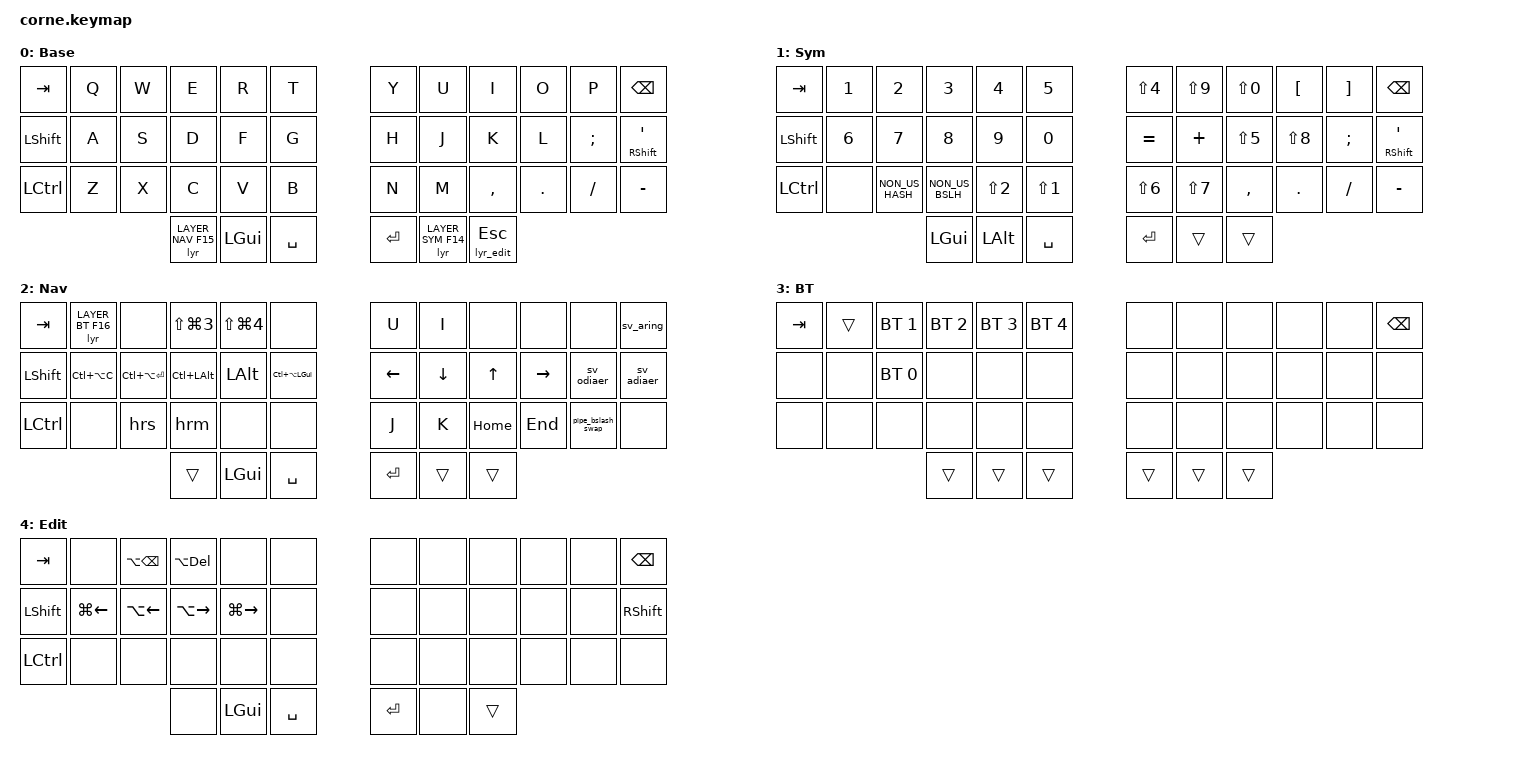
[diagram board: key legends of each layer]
/*
 * Copyright (c) 2020 The ZMK Contributors
 *
 * SPDX-License-Identifier: MIT
 */

#include <behaviors.dtsi>
#include <dt-bindings/zmk/keys.h>
#include <dt-bindings/zmk/bt.h>

#define LAYER_BASE 0
#define LAYER_SYM 1
#define LAYER_NAV 2
#define LAYER_BT 3
#define LAYER_EDIT 4

/*
 * Layer signals. Layer index N emits a bare F13+N on entry so keylens can show
 * the matching overlay. macOS binds none of F13-F24, which is the whole point:
 * no other application can react to them. Naked modifiers were used for this
 * until it turned out five consecutive RSHFT taps trip macOS Sticky Keys and a
 * naked RGUI tap opens the Start menu inside a Windows VM.
 *
 * Releasing a layer taps SIG_BASE, the index-0 signal, so keylens can hide the
 * overlay on release instead of timing it out. Every layer is a momentary
 * hold, so entry alone does not tell it how long the hold lasts.
 *
 * keymap-drawer/layers.json is generated from these pairings and CI asserts
 * each one matches its layer index. Keep them in step.
 */
#define SIG_BASE F13
#define SIG_SYM F14
#define SIG_NAV F15
#define SIG_BT F16
#define SIG_EDIT F17

/ {
        behaviors {
                compatible = "zmk,behaviors";

                /*
                 * Apostrophe shares the right-hand shift key. Stock &mt is
                 * hold-preferred, which fires the hold the moment any other key
                 * goes down -- "don't" comes out "donT". require-prior-idle-ms
                 * forces the tap when another key was pressed within the last
                 * 150ms, so mid-word apostrophes always type, while a
                 * deliberate reach after a pause still shifts.
                 */
                qshft: quote_shift {
                        compatible = "zmk,behavior-hold-tap";
                        #binding-cells = <2>;
                        flavor = "balanced";
                        tapping-term-ms = <200>;
                        quick-tap-ms = <175>;
                        require-prior-idle-ms = <150>;
                        bindings = <&kp>, <&kp>;
                };

                /*
                 * Esc taps Esc and holds Edit. Balanced, so an Esc that is
                 * still down when the next key goes down stays Esc unless that
                 * key is also released first -- vim's Esc-then-command roll
                 * keeps working. retro-tap sends Esc for a long press with
                 * nothing else pressed, so a slow Esc is never swallowed.
                 */
                esc_edit: esc_edit {
                        compatible = "zmk,behavior-hold-tap";
                        #binding-cells = <2>;
                        flavor = "balanced";
                        tapping-term-ms = <200>;
                        quick-tap-ms = <175>;
                        retro-tap;
                        bindings = <&lyr_edit>, <&kp>;
                };

                /*
                 * Swedish characters, emitted natively so they work with no
                 * application running. On British-PC, Option+A is a direct
                 * aring, but adiaeresis and odiaeresis need the Option+U dead
                 * key -- and Option must be *released* before the following
                 * letter. Holding it through both gives "..a" instead. A macro
                 * gets that right; fingers cannot.
                 *
                 * keep-mods = <0> matters: the shifted morphs supply their own
                 * shift, and a leaked shift would turn Option+U into a
                 * different dead key.
                 */
                sv_aring: sv_aring {
                        compatible = "zmk,behavior-mod-morph";
                        #binding-cells = <0>;
                        bindings = <&kp LA(A)>, <&kp LS(LA(A))>;
                        mods = <(MOD_LSFT|MOD_RSFT)>;
                        keep-mods = <0>;
                };

                sv_adiaer: sv_adiaer {
                        compatible = "zmk,behavior-mod-morph";
                        #binding-cells = <0>;
                        bindings = <&sv_adiaer_lo>, <&sv_adiaer_up>;
                        mods = <(MOD_LSFT|MOD_RSFT)>;
                        keep-mods = <0>;
                };

                sv_odiaer: sv_odiaer {
                        compatible = "zmk,behavior-mod-morph";
                        #binding-cells = <0>;
                        bindings = <&sv_odiaer_lo>, <&sv_odiaer_up>;
                        mods = <(MOD_LSFT|MOD_RSFT)>;
                        keep-mods = <0>;
                };

                /*
                 * British-PC crosses the two ISO keycodes: macOS hands GRAVE
                 * the backslash key and NON_US_BSLH the backtick key, the
                 * opposite of what the HID names promise. So | and \ sit on
                 * GRAVE here, and Sym's backtick is NON_US_BSLH.
                 */
                pipe_bslash_swap: pipe_bslash_swap {
                        compatible = "zmk,behavior-mod-morph";
                        #binding-cells = <0>;
                        bindings = <&kp LS(GRAVE)>, <&kp GRAVE>;
                        mods = <(MOD_LSFT|MOD_RSFT)>;
                        keep-mods = <0>;
                };
        };

        macros {
                /*
                 * Momentary layer hold that also emits the layer's signal.
                 * Both parameters are explicit at the call site so the CI check
                 * can verify the signal matches the layer index.
                 *
                 * tap-ms must stay non-zero: the behavior queue only yields
                 * between press and release when the wait is > 0
                 * (behavior_queue.c), so a zero-length tap never reaches the
                 * host.
                 */
                lyr: lyr {
                        compatible = "zmk,behavior-macro-two-param";
                        #binding-cells = <2>;
                        wait-ms = <0>;
                        tap-ms = <30>;
                        bindings
                                = <&macro_param_1to1>
                                , <&macro_press &mo MACRO_PLACEHOLDER>
                                , <&macro_param_2to1>
                                , <&macro_tap &kp MACRO_PLACEHOLDER>
                                , <&macro_pause_for_release>
                                , <&macro_param_1to1>
                                , <&macro_release &mo MACRO_PLACEHOLDER>
                                , <&macro_tap &kp SIG_BASE>
                                ;
                };

                /*
                 * &lyr with Edit's pair fixed. A hold-tap hands its hold
                 * binding one parameter, and &lyr takes two.
                 */
                lyr_edit: lyr_edit {
                        compatible = "zmk,behavior-macro";
                        #binding-cells = <0>;
                        wait-ms = <0>;
                        tap-ms = <30>;
                        bindings
                                = <&macro_press &mo LAYER_EDIT>
                                , <&macro_tap &kp SIG_EDIT>
                                , <&macro_pause_for_release>
                                , <&macro_release &mo LAYER_EDIT>
                                , <&macro_tap &kp SIG_BASE>
                                ;
                };

                sv_adiaer_lo: sv_adiaer_lo {
                        compatible = "zmk,behavior-macro";
                        #binding-cells = <0>;
                        wait-ms = <0>;
                        tap-ms = <30>;
                        bindings = <&kp LA(U)>, <&kp A>;
                };

                sv_adiaer_up: sv_adiaer_up {
                        compatible = "zmk,behavior-macro";
                        #binding-cells = <0>;
                        wait-ms = <0>;
                        tap-ms = <30>;
                        bindings = <&kp LA(U)>, <&kp LS(A)>;
                };

                sv_odiaer_lo: sv_odiaer_lo {
                        compatible = "zmk,behavior-macro";
                        #binding-cells = <0>;
                        wait-ms = <0>;
                        tap-ms = <30>;
                        bindings = <&kp LA(U)>, <&kp O>;
                };

                sv_odiaer_up: sv_odiaer_up {
                        compatible = "zmk,behavior-macro";
                        #binding-cells = <0>;
                        wait-ms = <0>;
                        tap-ms = <30>;
                        bindings = <&kp LA(U)>, <&kp LS(O)>;
                };

                hrs: hrs {
                        compatible = "zmk,behavior-macro";
                        #binding-cells = <0>;
                        wait-ms = <0>;
                        tap-ms = <30>;
                        bindings = <&kp LS(LG(J))>;
                };

                hrm: hrm {
                        compatible = "zmk,behavior-macro";
                        #binding-cells = <0>;
                        wait-ms = <0>;
                        tap-ms = <30>;
                        bindings = <&kp LA(SPACE)>;
                };
        };

        keymap {
                compatible = "zmk,keymap";

                base_layer {
// -----------------------------------------------------------------------------------------
// |  TAB |  Q  |  W  |  E  |  R  |  T  |   |  Y  |  U   |  I  |  O  |  P  | BKSP |
// | SHFT |  A  |  S  |  D  |  F  |  G  |   |  H  |  J   |  K  |  L  |  ;  | '/SH |
// | CTRL |  Z  |  X  |  C  |  V  |  B  |   |  N  |  M   |  ,  |  .  |  /  |  -   |
//                    | NAV | GUI | SPC |   | ENT | SYM  |ESC/ED|
//
// Shift+,/. are left at their stock meaning (< >) so the Corne agrees with
// every unprogrammed keyboard in the fleet -- see ADR 0001. ! and " moved to
// Sym, where the rest of the shifted-numeral row already lives.
//
// Esc holds Edit. It is the one thumb key that neither holds a layer nor
// types constantly, and it is on the right, so the left hand is free to edit.
                        display-name = "Base";
                        bindings = <
   &kp TAB   &kp Q &kp W &kp E &kp R &kp T   &kp Y &kp U &kp I    &kp O   &kp P    &kp BSPC
   &kp LSHFT &kp A &kp S &kp D &kp F &kp G   &kp H &kp J &kp K    &kp L   &kp SEMI &qshft RSHFT SQT
   &kp LCTRL &kp Z &kp X &kp C &kp V &kp B   &kp N &kp M &kp COMMA &kp DOT &kp FSLH &kp MINUS
          &lyr LAYER_NAV SIG_NAV &kp LGUI    &kp SPACE   &kp RET &lyr LAYER_SYM SIG_SYM   &esc_edit 0 ESC
                        >;
                };

                symbol_layer {
// -----------------------------------------------------------------------------------------
// |  TAB |  1  |  2  |  3  |  4  |  5  |   |  $  |  (  |  )  |  [  |  ]  | BKSP |
// | SHFT |  6  |  7  |  8  |  9  |  0  |   |  =  |  +  |  %  |  *  |  ;  | '/SH |
// | CTRL |     |  #  |  `  |  "  |  !  |   |  ^  |  &  |  ,  |  .  |  /  |  -   |
//                    | GUI | ALT | SPC |   | ENT | SYM |     |
//
// Alt sits on the left thumb, not under the digits: every digit is a left-hand
// key, so a same-hand Alt made Option+4 a claw. The thumb is free while the
// fingers walk the row, which is the same arrangement Nav uses.
//
// Col 11, row 1 col 10 and row 2 cols 8-11 repeat Base key for key. Digits are
// typed in runs with punctuation between them -- 2026-11-12, 24/7, 1,000, 12:30
// -- and every one of those that Sym redefined forced a release and a re-take
// of the layer, or a second backspace position to remember. Keep these seven in
// step with Base. They are spelled out rather than &trans so the drawn map
// shows the character instead of a pass-through marker.
//
// The Swedish letters used to sit on three of those keys. They are on Nav now:
// they belong to words, not to numbers, and they were what pushed backspace,
// # and the apostrophe off their Base positions.
//
// Row 1 col 9 is * , closing the = + % run. Row 2 col 2 is # , which is its own
// key on a UK layout and gives tilde shifted. The backtick at row 2 col 3 types
// from NON_US_BSLH, not GRAVE -- see pipe_bslash_swap for the crossing -- and
// shifted it gives not-sign. Row 2 col 1 is still free.
//
// Row 0 cols 9-10 ([ ]) are bare taps, so Shift+[ and Shift+] still reach
// { and } the ordinary way -- no dedicated key for curlies, same as any
// other shiftable key on this layer.
//
// @ has no key of its own: it is Shift+' , the chord Base makes on the same
// key. Row 2 cols 4-5 hold the quote/exclamation pair that moved off Base's
// comma and period (see Base's comment -- ADR 0001).
                        display-name = "Sym";
                        bindings = <
   &kp TAB   &kp N1   &kp N2 &kp N3 &kp N4 &kp N5   &kp LS(N4) &kp LS(N9) &kp LS(N0) &kp LBKT   &kp RBKT &kp BSPC
   &kp LSHFT &kp N6   &kp N7 &kp N8 &kp N9 &kp N0   &kp EQUAL  &kp PLUS   &kp LS(N5) &kp LS(N8) &kp SEMI &qshft RSHFT SQT
   &kp LCTRL &none    &kp NON_US_HASH &kp NON_US_BSLH &kp LS(N2) &kp LS(N1) &kp LS(N6) &kp LS(N7) &kp COMMA &kp DOT &kp FSLH &kp MINUS
          &kp LGUI &kp LALT                         &kp SPACE  &kp RET &trans        &trans
                        >;
                };

                nav_layer {
// -----------------------------------------------------------------------------------------
// |  TAB |  BT |     | SSC | SSF |     |   | TL  | TR  |     |     |     |  å   |
// | SHFT | CNTR | MAX | HLF | ALT | DSP |   | LFT | DWN |  UP | RGT |  ö  |  ä   |
// | CTRL |     | HRS | HRM |     |     |   | BL  | BR  |HOME | END | "|" |      |
//                    | NAV | GUI | SPC |   | ENT |     |     |
//
// Window management is a held modifier plus a direction, not a combo and not a
// decoder ring -- the Corne emits exactly the chord a bare keyboard emits.
//   ALT (row 1 col 4) holds plain Alt: arrows jump words.
//   HLF (row 1 col 3) holds Ctrl+Alt: arrows snap halves, TL/TR/BL/BR snap corners.
//   DSP (row 1 col 5) holds Ctrl+Alt+Gui: arrows move the window between displays.
//   CTRL (row 2 col 0) is already there: arrows switch macOS Spaces.
// All of these are Rectangle's factory bindings. Nothing here needs Rectangle to
// be configured, only installed.
//
// Left-hand order is by frequency, not by grouping: index home (col 4) takes the
// most-used hold and the inner stretch (col 5) the least -- word jump beats half
// snapping beats display move. Alt cannot sit on the thumb here the way it does
// on Sym: row 3 col 0 *is* the Nav key, held down to be on this layer at all, so
// a binding there is unreachable. It is &trans for that reason.
//
// SSC and SSF (row 0 cols 3-4) are region screenshots: Shift+Cmd+3 to the
// clipboard and Shift+Cmd+4 to a file. The clipboard one is not macOS's
// default (Ctrl+Shift+Cmd+4) but the shortcut the other keyboards are used
// with, set by mac_setup, so the Corne and a bare keyboard stay the same.
//
// Row 0 col 11 and row 1 cols 10-11 hold a-ring, o-diaeresis and a-diaeresis at
// the positions they occupy on a Swedish keyboard: a-ring right of P, then the
// two keys right of L. Nav is held by the opposite thumb and had those keys to
// spare. It costs Nav its backspace -- word delete is on Edit -- and row 1 col
// 11 is not shift on this layer -- see agents.md. Row 1 col 0 still is, for the
// capitals and for selecting.
//
// Row 2's empties are &none rather than &trans: as &trans they fell through to
// Base and typed Z, V and B mid-hold, while the map above showed them empty.
                        display-name = "Nav";
                        bindings = <
   &kp TAB   &lyr LAYER_BT SIG_BT &none &kp LS(LG(N3)) &kp LS(LG(N4)) &none   &kp U    &kp I    &none        &none      &none             &sv_aring
   &kp LSHFT &kp LC(LA(C)) &kp LC(LA(RET)) &kp LC(LALT) &kp LALT &kp LC(LA(LGUI)) &kp LEFT &kp DOWN &kp UP       &kp RIGHT   &sv_odiaer        &sv_adiaer
   &kp LCTRL &none         &hrs            &hrm         &none    &none            &kp J    &kp K    &kp HOME     &kp END &pipe_bslash_swap &none
          &trans &kp LGUI                                   &kp SPACE    &kp RET &trans  &trans
                        >;
                };

                bt_layer {
// -----------------------------------------------------------------------------------------
// |  TAB |  BT  | BT 2 | BT 3 | BT 4 | BT 5 |   |     |     |     |     |     | BKSP |
// |      |      | BT 1 |      |      |      |   |     |     |     |     |     |      |
// |      |      |      |      |      |      |   |     |     |     |     |     |      |
//                    |     |     |     |   |     |     |     |
//
// BT 1 is off the row and one column in, at row 1 col 2. Row 0 col 1 is the BT
// key itself and held BT_SEL 0 until now, which made profile 0 -- the profile
// the keyboard boots on -- the one host you could not switch back to. Row 1 col
// 1 would not have fixed it: that is the same pinky column as the key being
// held. Col 2 is the ring finger's home key, and the ring finger is free.
                        display-name = "BT";
                        bindings = <
   &kp TAB   &trans       &bt BT_SEL 1 &bt BT_SEL 2 &bt BT_SEL 3 &bt BT_SEL 4   &none &none &none &none &none &kp BSPC
   &none     &none        &bt BT_SEL 0 &none        &none        &none          &none &none &none &none &none &none
   &none     &none        &none        &none        &none        &none          &none &none &none &none &none &none
                  &trans   &trans                                &trans      &trans  &trans         &trans
                        >;
                };

                edit_layer {
// -----------------------------------------------------------------------------------------
// |  TAB |     | ⌫WRD| WRD⌦|     |     |   |     |     |     |     |     | BKSP |
// | SHFT | ⇤LN | ←WRD| WRD→| LN⇥ |     |   |     |     |     |     |     | SHFT |
// | CTRL |     |     |     |     |     |   |     |     |     |     |     |      |
//                    |     | GUI | SPC |   | ENT |     | EDIT|
//
// The home row reads like the line it edits: line ends outside, words inside.
// Each delete sits above the move that goes the same way. Shift (row 1 col 0)
// turns every move into a selection, as it does on any Mac keyboard.
//
// These are the macOS text chords -- Cmd+arrow, Opt+arrow, Opt+Backspace,
// Opt+Delete -- not the emacs ones, so they work in every text field and the
// Corne sends what a bare keyboard would. Terminals get them translated.
                        display-name = "Edit";
                        bindings = <
   &kp TAB   &none        &kp LA(BSPC) &kp LA(DEL)   &none        &none   &none &none &none &none &none &kp BSPC
   &kp LSHFT &kp LG(LEFT) &kp LA(LEFT) &kp LA(RIGHT) &kp LG(RIGHT) &none  &none &none &none &none &none &kp RSHFT
   &kp LCTRL &none        &none        &none         &none        &none   &none &none &none &none &none &none
          &none &kp LGUI                             &kp SPACE    &kp RET &none  &trans
                        >;
                };
        };
};
